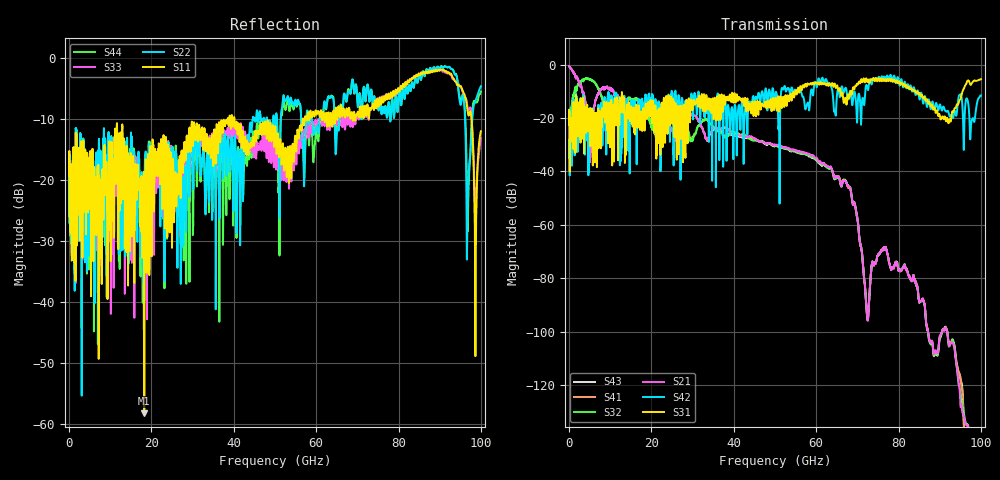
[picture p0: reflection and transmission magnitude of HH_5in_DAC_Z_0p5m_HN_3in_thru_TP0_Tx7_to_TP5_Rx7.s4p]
# GHz S RI R 45
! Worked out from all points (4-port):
!   4000 points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, 25 MHz to 100 GHz, reference 45 ohm
!   strongest paths, dB at 25 MHz, 25.02 GHz, 50.02 GHz, 75.03 GHz, 100 GHz:
!     S31: -22.6, -20.8, -12.9, -5.4, -5.4
!     S42: -22.5, -11.1, -12.9, -5.1, -11.5
!     S21: -0.6, -24.9, -30.0, -71.1, -188.5
!     S32: -34.9, -17.4, -30.2, -71.1, -171.1
!     S41: -34.9, -17.3, -30.3, -71.1, -182.3
!     S43: -0.6, -24.5, -30.4, -71.1, -173.8
!   lowest |S11| = -58.2 dB at 18.27 GHz (marker M1), VSWR 1.00, Z = 44.9 - j0.0544 ohm
!   |S11| at or under -10 dB: start of sweep to 38.47 GHz; 40.16 GHz to 56.74 GHz (16.57 GHz wide, 34.2 % of centre); 97.74 GHz to end of sweep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
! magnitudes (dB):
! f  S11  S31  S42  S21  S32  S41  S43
! 25 MHz  -19.3  -22.6  -22.5  -0.6  -34.9  -34.9  -0.6
! 5.1 GHz  -16.7  -18.1  -17.2  -32.0  -5.6  -5.6  -30.8
! 18.27 GHz  -58.2  -21.3  -16.2  -16.5  -15.8  -15.8  -16.4
! 63.35 GHz  -10.7  -7.2  -7.0  -38.2  -38.6  -38.3  -38.7
! 72.12 GHz  -9.4  -5.1  -7.7  -89.3  -89.1  -89.3  -89.1
! 96.9 GHz  -9.2  -5.9  -14.2  -135.2  -135.0  -139.8  -139.9
! 100 GHz  -12.0  -5.4  -11.5  -188.5  -171.1  -182.3  -173.8
